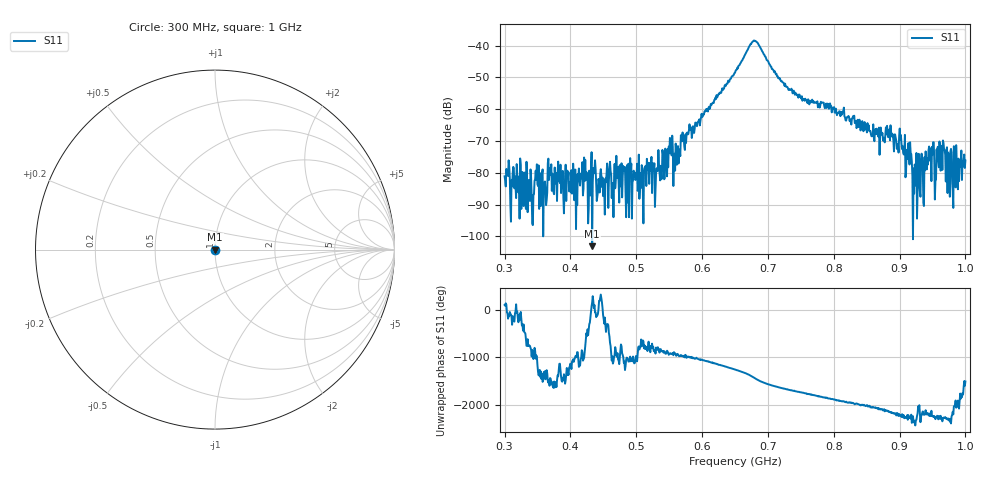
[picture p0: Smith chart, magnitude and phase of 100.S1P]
! C:\Users\rflab\Downloads\q2\100.S1P
! Touchstone 1.1 file saved by VNA.EXE V1.65 (www.ke5fx.com/gpib/readme.htm)
! 11/20/2024 11:10:13 AM
!  Source: HEWLETT PACKARD,8753D,0,6.14
!  Min freq: 3.000000E+008 Hz
!  Max freq: 1.000000E+009 Hz
!  Points: 801
!  Params: S21
# GHZ S MA R 50
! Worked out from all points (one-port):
!   801 points, 300 MHz to 1 GHz, reference 50 ohm
!   lowest |S11| = -103.1 dB at 433 MHz (marker M1), VSWR 1.00, Z = 50 + j0.00034 ohm
!   |S11| at or under -10 dB: start of sweep to end of sweep
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0.3  8.8e-05 101.2
0.3875  7.8e-05 -71.2
0.433  7e-06 150.9
0.475  0.000132 94.0
0.519625  6.7e-05 -109.2
0.52925  5.3e-05 159.4
0.545  0.000175 155.0
0.551125  0.000354 157.8
0.5625  0.000193 153.5
0.58  0.000466 95.3
0.65  0.003755 -177.5
0.680625  0.01192 -2.4
0.717375  0.003022 166.9
0.7375  0.00178 101.9
0.825  0.000695 -147.9
0.85825  0.00038 101.9
0.88275  0.000363 20.5
0.902875  0.000291 -94.1
0.906375  0.000194 -56.7
0.9125  0.000166 -151.1
0.91425  0.000209 -107.4
0.923  0.000135 169.7
0.939625  0.000217 49.0
0.948375  7.4e-05 36.8
0.95625  0.000233 -95.9
0.964125  0.000266 -112.8
0.986875  0.00015 -152.9
1  0.000156 -68.2
